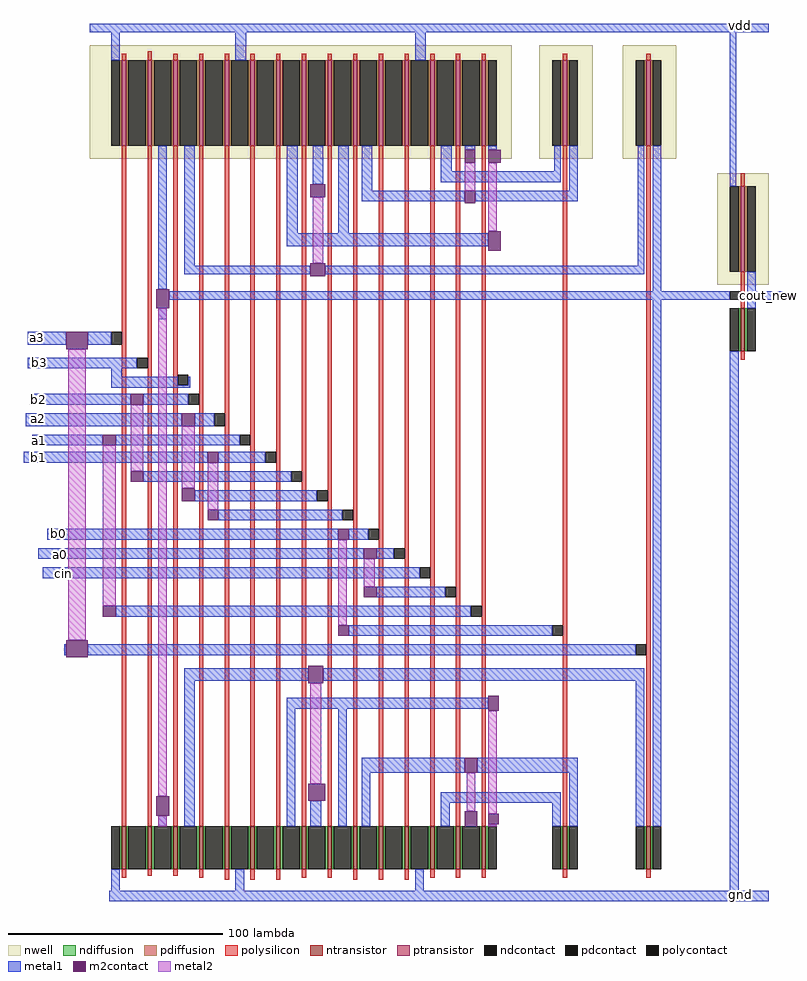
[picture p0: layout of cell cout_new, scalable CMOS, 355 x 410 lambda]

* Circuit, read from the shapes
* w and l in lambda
.subckt cout_new a0 a1 a2 a3 b0 b1 b2 b3 cin gnd vdd
M1 n1 a3 gnd VSUBS nfet w=20 l=2
M2 n2 b3 n1 VSUBS nfet w=20 l=2
M3 n3 b3 n2 VSUBS nfet w=20 l=2
M4 n4 b2 n3 VSUBS nfet w=20 l=2
M5 gnd a2 n4 VSUBS nfet w=20 l=2
M6 n5 a1 gnd VSUBS nfet w=20 l=2
M7 n6 b1 n5 VSUBS nfet w=20 l=2
M8 n3 b2 n6 VSUBS nfet w=20 l=2
M9 n6 a2 n3 VSUBS nfet w=20 l=2
M10 n7 b1 n6 VSUBS nfet w=20 l=2
M11 n8 b0 n7 VSUBS nfet w=20 l=2
M12 gnd a0 n8 VSUBS nfet w=20 l=2
M13 n9 cin gnd VSUBS nfet w=20 l=2
M14 n7 a0 n9 VSUBS nfet w=20 l=2
M15 n6 a1 n7 VSUBS nfet w=20 l=2
M16 n7 b0 n9 VSUBS nfet w=20 l=2
M17 n2 a3 n3 VSUBS nfet w=20 l=2
M18 n10 n2 gnd VSUBS nfet w=20 l=2
M19 n11 a3 vdd n12 pfet w=40 l=2
M20 n2 b3 n11 n12 pfet w=40 l=2
M21 n13 b3 n2 n12 pfet w=40 l=2
M22 n14 b2 n13 n12 pfet w=40 l=2
M23 vdd a2 n14 n12 pfet w=40 l=2
M24 n15 a1 vdd n12 pfet w=40 l=2
M25 n16 b1 n15 n12 pfet w=40 l=2
M26 n13 b2 n16 n12 pfet w=40 l=2
M27 n16 a2 n13 n12 pfet w=40 l=2
M28 n17 b1 n16 n12 pfet w=40 l=2
M29 n18 b0 n17 n12 pfet w=40 l=2
M30 vdd a0 n18 n12 pfet w=40 l=2
M31 n19 cin vdd n12 pfet w=40 l=2
M32 n17 a0 n19 n12 pfet w=40 l=2
M33 n16 a1 n17 n12 pfet w=40 l=2
M34 n17 b0 n19 n20 pfet w=40 l=2
M35 n2 a3 n13 n21 pfet w=40 l=2
M36 n10 n2 vdd n22 pfet w=40 l=2
.ends

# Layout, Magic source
magic
tech scmos
<< nwell >>
rect -386 125 -189 178
rect -176 125 -151 178
rect -137 125 -112 178
rect -93 66 -69 118
<< ntransistor >>
rect -82 35 -80 55
rect -371 -207 -369 -187
rect -359 -207 -357 -187
rect -347 -207 -345 -187
rect -335 -207 -333 -187
rect -323 -207 -321 -187
rect -311 -207 -309 -187
rect -299 -207 -297 -187
rect -287 -207 -285 -187
rect -275 -207 -273 -187
rect -263 -207 -261 -187
rect -251 -207 -249 -187
rect -239 -207 -237 -187
rect -227 -207 -225 -187
rect -215 -207 -213 -187
rect -203 -207 -201 -187
rect -165 -207 -163 -187
rect -126 -207 -124 -187
<< ptransistor >>
rect -371 131 -369 171
rect -359 131 -357 171
rect -347 131 -345 171
rect -335 131 -333 171
rect -323 131 -321 171
rect -311 131 -309 171
rect -299 131 -297 171
rect -287 131 -285 171
rect -275 131 -273 171
rect -263 131 -261 171
rect -251 131 -249 171
rect -239 131 -237 171
rect -227 131 -225 171
rect -215 131 -213 171
rect -203 131 -201 171
rect -165 131 -163 171
rect -126 131 -124 171
rect -82 72 -80 112
<< ndiffusion >>
rect -83 35 -82 55
rect -80 35 -79 55
rect -372 -207 -371 -187
rect -369 -207 -368 -187
rect -360 -207 -359 -187
rect -357 -207 -356 -187
rect -348 -207 -347 -187
rect -345 -207 -344 -187
rect -336 -207 -335 -187
rect -333 -207 -332 -187
rect -324 -207 -323 -187
rect -321 -207 -320 -187
rect -312 -207 -311 -187
rect -309 -207 -308 -187
rect -300 -207 -299 -187
rect -297 -207 -296 -187
rect -288 -207 -287 -187
rect -285 -207 -284 -187
rect -276 -207 -275 -187
rect -273 -207 -272 -187
rect -264 -207 -263 -187
rect -261 -207 -260 -187
rect -252 -207 -251 -187
rect -249 -207 -248 -187
rect -240 -207 -239 -187
rect -237 -207 -236 -187
rect -228 -207 -227 -187
rect -225 -207 -224 -187
rect -216 -207 -215 -187
rect -213 -207 -212 -187
rect -204 -207 -203 -187
rect -201 -207 -200 -187
rect -166 -207 -165 -187
rect -163 -207 -162 -187
rect -127 -207 -126 -187
rect -124 -207 -123 -187
<< pdiffusion >>
rect -372 131 -371 171
rect -369 131 -368 171
rect -360 131 -359 171
rect -357 131 -356 171
rect -348 131 -347 171
rect -345 131 -344 171
rect -336 131 -335 171
rect -333 131 -332 171
rect -324 131 -323 171
rect -321 131 -320 171
rect -312 131 -311 171
rect -309 131 -308 171
rect -300 131 -299 171
rect -297 131 -296 171
rect -288 131 -287 171
rect -285 131 -284 171
rect -276 131 -275 171
rect -273 131 -272 171
rect -264 131 -263 171
rect -261 131 -260 171
rect -252 131 -251 171
rect -249 131 -248 171
rect -240 131 -239 171
rect -237 131 -236 171
rect -228 131 -227 171
rect -225 131 -224 171
rect -216 131 -215 171
rect -213 131 -212 171
rect -204 131 -203 171
rect -201 131 -200 171
rect -166 131 -165 171
rect -163 131 -162 171
rect -127 131 -126 171
rect -124 131 -123 171
rect -83 72 -82 112
rect -80 72 -79 112
<< ndcontact >>
rect -87 35 -83 55
rect -79 35 -75 55
rect -376 -207 -372 -187
rect -368 -207 -360 -187
rect -356 -207 -348 -187
rect -344 -207 -336 -187
rect -332 -207 -324 -187
rect -320 -207 -312 -187
rect -308 -207 -300 -187
rect -296 -207 -288 -187
rect -284 -207 -276 -187
rect -272 -207 -264 -187
rect -260 -207 -252 -187
rect -248 -207 -240 -187
rect -236 -207 -228 -187
rect -224 -207 -216 -187
rect -212 -207 -204 -187
rect -200 -207 -196 -187
rect -170 -207 -166 -187
rect -162 -207 -158 -187
rect -131 -207 -127 -187
rect -123 -207 -119 -187
<< pdcontact >>
rect -376 131 -372 171
rect -368 131 -360 171
rect -356 131 -348 171
rect -344 131 -336 171
rect -332 131 -324 171
rect -320 131 -312 171
rect -308 131 -300 171
rect -296 131 -288 171
rect -284 131 -276 171
rect -272 131 -264 171
rect -260 131 -252 171
rect -248 131 -240 171
rect -236 131 -228 171
rect -224 131 -216 171
rect -212 131 -204 171
rect -200 131 -196 171
rect -170 131 -166 171
rect -162 131 -158 171
rect -131 131 -127 171
rect -123 131 -119 171
rect -87 72 -83 112
rect -79 72 -75 112
<< polysilicon >>
rect -371 171 -369 174
rect -359 171 -357 175
rect -347 171 -345 174
rect -335 171 -333 174
rect -323 171 -321 174
rect -311 171 -309 174
rect -299 171 -297 174
rect -287 171 -285 174
rect -275 171 -273 174
rect -263 171 -261 174
rect -251 171 -249 174
rect -239 171 -237 174
rect -227 171 -225 174
rect -215 171 -213 174
rect -203 171 -201 174
rect -165 171 -163 174
rect -126 171 -124 174
rect -371 -187 -369 131
rect -359 -187 -357 131
rect -347 -187 -345 131
rect -335 -187 -333 131
rect -323 -187 -321 131
rect -311 -187 -309 131
rect -299 -187 -297 131
rect -287 -187 -285 131
rect -275 -187 -273 131
rect -263 -187 -261 131
rect -251 -187 -249 131
rect -239 -187 -237 131
rect -227 -187 -225 131
rect -215 -187 -213 131
rect -203 -187 -201 131
rect -165 -187 -163 131
rect -126 -187 -124 131
rect -82 112 -80 118
rect -82 55 -80 72
rect -82 31 -80 35
rect -371 -211 -369 -207
rect -359 -210 -357 -207
rect -347 -210 -345 -207
rect -335 -211 -333 -207
rect -323 -212 -321 -207
rect -311 -212 -309 -207
rect -299 -212 -297 -207
rect -287 -211 -285 -207
rect -275 -211 -273 -207
rect -263 -212 -261 -207
rect -251 -212 -249 -207
rect -239 -212 -237 -207
rect -227 -211 -225 -207
rect -215 -211 -213 -207
rect -203 -211 -201 -207
rect -165 -211 -163 -207
rect -126 -211 -124 -207
<< polycontact >>
rect -376 38 -371 44
rect -364 27 -359 32
rect -345 19 -340 24
rect -340 10 -335 15
rect -328 0 -323 6
rect -316 -9 -311 -4
rect -304 -17 -299 -12
rect -292 -26 -287 -21
rect -280 -35 -275 -30
rect -268 -44 -263 -39
rect -256 -53 -251 -48
rect -244 -62 -239 -57
rect -232 -71 -227 -66
rect -220 -80 -215 -75
rect -208 -89 -203 -84
rect -170 -98 -165 -93
rect -131 -107 -126 -102
rect -87 59 -82 63
<< metal1 >>
rect -386 184 -69 188
rect -376 171 -372 184
rect -318 171 -313 184
rect -234 171 -229 184
rect -354 64 -350 131
rect -342 75 -337 131
rect -294 90 -289 131
rect -282 113 -277 131
rect -270 90 -265 131
rect -259 110 -254 131
rect -222 119 -217 131
rect -211 129 -206 131
rect -200 129 -196 131
rect -169 119 -166 131
rect -222 114 -166 119
rect -162 110 -158 131
rect -259 105 -211 110
rect -206 105 -158 110
rect -294 84 -200 90
rect -342 71 -283 75
rect -130 75 -127 131
rect -276 71 -127 75
rect -123 63 -119 131
rect -87 112 -84 184
rect -79 63 -75 72
rect -349 59 -87 63
rect -79 59 -62 63
rect -354 50 -350 55
rect -415 38 -397 44
rect -387 38 -376 44
rect -415 27 -364 32
rect -376 23 -371 27
rect -376 19 -345 23
rect -340 19 -339 23
rect -376 18 -339 19
rect -414 10 -367 15
rect -361 10 -340 15
rect -416 0 -343 6
rect -337 0 -328 6
rect -413 -9 -380 -4
rect -374 -9 -316 -4
rect -417 -17 -331 -12
rect -326 -17 -304 -12
rect -361 -26 -292 -21
rect -337 -35 -280 -30
rect -326 -44 -268 -39
rect -406 -53 -270 -48
rect -265 -53 -256 -48
rect -410 -62 -258 -57
rect -252 -62 -244 -57
rect -408 -71 -232 -66
rect -252 -80 -220 -75
rect -374 -89 -208 -84
rect -265 -98 -170 -93
rect -398 -107 -397 -102
rect -387 -107 -131 -102
rect -342 -119 -284 -113
rect -354 -187 -350 -182
rect -342 -187 -337 -119
rect -277 -119 -127 -113
rect -294 -132 -200 -127
rect -294 -187 -290 -132
rect -283 -187 -278 -175
rect -270 -187 -266 -132
rect -259 -162 -211 -155
rect -205 -162 -158 -155
rect -259 -187 -255 -162
rect -222 -176 -166 -171
rect -222 -187 -218 -176
rect -200 -187 -196 -186
rect -170 -187 -166 -176
rect -162 -187 -158 -162
rect -131 -187 -127 -119
rect -123 -187 -119 59
rect -79 55 -75 59
rect -376 -217 -372 -207
rect -318 -217 -314 -207
rect -234 -217 -230 -207
rect -87 -217 -83 35
rect -377 -222 -69 -217
<< m2contact >>
rect -283 107 -276 113
rect -211 123 -206 129
rect -200 123 -194 129
rect -211 104 -206 110
rect -200 82 -194 91
rect -283 70 -276 76
rect -355 55 -349 64
rect -397 36 -387 44
rect -367 10 -361 15
rect -343 0 -337 6
rect -380 -9 -374 -4
rect -331 -17 -326 -12
rect -367 -26 -361 -21
rect -343 -35 -337 -29
rect -331 -44 -326 -39
rect -270 -53 -265 -48
rect -258 -62 -252 -57
rect -258 -80 -252 -75
rect -380 -89 -374 -84
rect -270 -98 -265 -93
rect -397 -108 -387 -100
rect -355 -182 -349 -173
rect -284 -120 -277 -112
rect -284 -175 -276 -167
rect -200 -133 -195 -126
rect -211 -162 -205 -155
rect -211 -187 -205 -180
rect -200 -186 -195 -181
<< metal2 >>
rect -211 110 -206 123
rect -282 76 -277 107
rect -200 91 -196 123
rect -396 -100 -388 36
rect -380 -84 -374 -9
rect -367 -21 -361 10
rect -354 -173 -350 55
rect -343 -29 -337 0
rect -331 -39 -326 -17
rect -270 -93 -266 -53
rect -258 -75 -253 -62
rect -283 -167 -278 -120
rect -210 -180 -206 -162
rect -354 -187 -350 -182
rect -200 -181 -196 -133
rect -200 -187 -196 -186
<< labels >>
rlabel metal1 -82 187 -82 187 5 vdd
rlabel metal1 -82 -219 -82 -219 1 gnd
rlabel metal1 -413 39 -408 44 1 a3
rlabel metal1 -412 27 -407 32 1 b3
rlabel metal1 -413 10 -407 15 1 b2
rlabel metal1 -413 1 -407 6 1 a2
rlabel metal1 -412 -9 -407 -4 1 a1
rlabel metal1 -413 -17 -407 -12 1 b1
rlabel metal1 -403 -52 -398 -48 1 b0
rlabel metal1 -402 -62 -397 -58 1 a0
rlabel metal1 -401 -71 -396 -67 1 cin
rlabel metal1 -71 59 -67 63 1 cout_new
<< end >>
